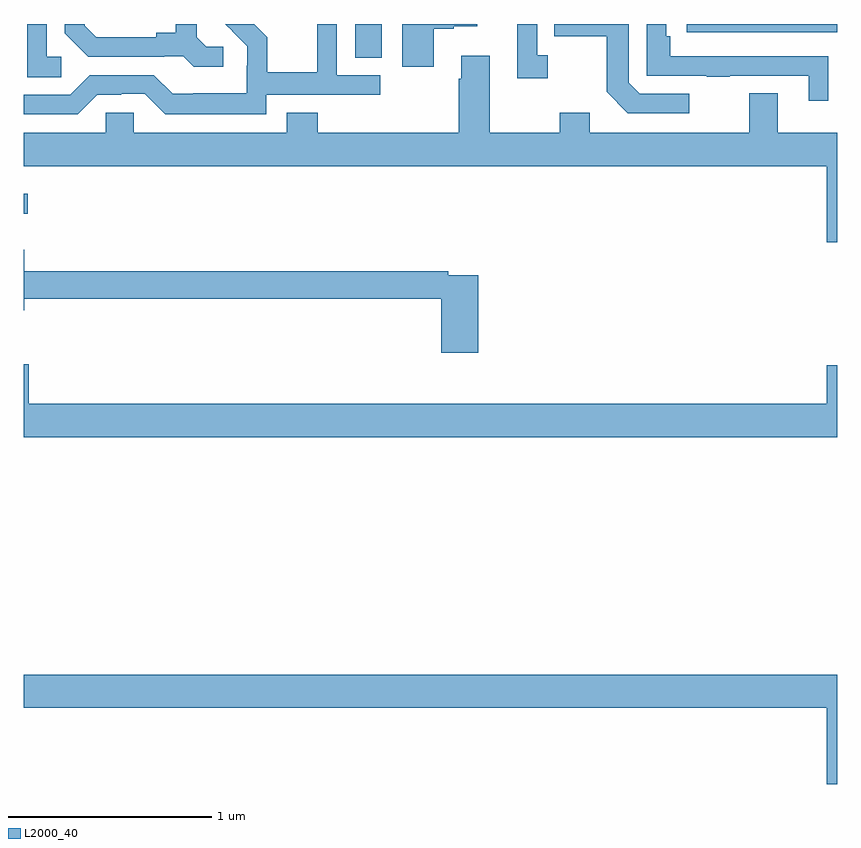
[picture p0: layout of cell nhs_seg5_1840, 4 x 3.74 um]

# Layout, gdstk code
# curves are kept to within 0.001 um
import gdstk
lib = gdstk.Library(unit=1e-6, precision=1e-09)
def R(c, l, rs):  # rectangles x0, y0, x1, y1
    for r in rs: c.add(gdstk.rectangle(r[:2], r[2:], *l))
def P(c, l, *ps):  # polygons
    for p in ps: c.add(gdstk.Polygon(p, *l))
L2000_40 = (2000, 40)

nhs_seg5_1840 = lib.new_cell('nhs_seg5_1840')
R(nhs_seg5_1840, L2000_40, [(221,849.867,221.02,849.964), (222.629,850.633,222.76,850.799), (224.259,850.758,225,850.799)])
P(nhs_seg5_1840, L2000_40, [(223.015,850.775),(223.115,850.775),(223.115,850.787),(223.231,850.787),(223.231,850.799),(222.86,850.799),(222.86,850.59),(223.015,850.59)],
  [(221.98,850.686),(221.898,850.686),(221.851,850.733),(221.851,850.799),(221.747,850.799),(221.747,850.757),(221.651,850.757),(221.651,850.734),(221.356,850.734),(221.299,850.791),(221.299,850.799),(221.202,850.799),(221.202,850.754),(221.318,850.638),(221.69,850.638),(221.69,850.641),(221.784,850.641),(221.836,850.589),(221.98,850.589)],
  [(221.185,850.638),(221.112,850.638),(221.112,850.799),(221.016,850.799),(221.016,850.537),(221.185,850.537)],
  [(224.957,850.64),(224.855,850.64),(224.855,850.641),(224.18,850.641),(224.18,850.738),(224.16,850.738),(224.16,850.799),(224.064,850.799),(224.064,850.545),(224.359,850.545),(224.359,850.54),(224.471,850.54),(224.471,850.545),(224.861,850.545),(224.861,850.422),(224.957,850.422)],
  [(223.576,850.646),(223.524,850.646),(223.524,850.799),(223.427,850.799),(223.427,850.533),(223.576,850.533)],
  [(222.192,850.452),(222.754,850.452),(222.754,850.548),(222.54,850.548),(222.54,850.799),(222.444,850.799),(222.444,850.784),(222.442,850.784),(222.442,850.561),(222.197,850.561),(222.197,850.735),(222.133,850.799),(221.991,850.799),(222.098,850.69),(222.098,850.593),(222.096,850.593),(222.096,850.459),(221.833,850.459),(221.833,850.455),(221.733,850.455),(221.64,850.548),(221.325,850.548),(221.229,850.452),(221,850.452),(221,850.356),(221.265,850.356),(221.361,850.452),(221.48,850.452),(221.48,850.455),(221.595,850.455),(221.695,850.355),(222.192,850.355)],
  [(224.272,850.455),(224.028,850.455),(223.974,850.509),(223.974,850.799),(223.609,850.799),(223.609,850.738),(223.866,850.738),(223.866,850.465),(223.971,850.359),(224.272,850.359)],
  [(225,850.264),(224.707,850.264),(224.707,850.459),(224.567,850.459),(224.567,850.264),(223.783,850.264),(223.783,850.363),(223.636,850.363),(223.636,850.264),(223.291,850.264),(223.291,850.642),(223.151,850.642),(223.151,850.529),(223.139,850.529),(223.139,850.264),(222.446,850.264),(222.446,850.363),(222.293,850.363),(222.293,850.264),(221.541,850.264),(221.541,850.362),(221.403,850.362),(221.403,850.264),(221,850.264),(221,850.1),(224.948,850.1),(224.948,849.726),(225,849.726)],
  [(223.235,849.564),(223.088,849.564),(223.088,849.584),(221.002,849.584),(221.002,849.688),(221,849.688),(221,849.392),(221.002,849.392),(221.002,849.448),(223.052,849.448),(223.052,849.183),(223.235,849.183)],
  [(225,849.121),(224.948,849.121),(224.948,848.932),(221.024,848.932),(221.024,849.127),(221,849.127),(221,848.768),(225,848.768)],
  [(225,847.6),(221,847.6),(221,847.436),(224.948,847.436),(224.948,847.062),(225,847.062)])

lib.write_gds('nhs_seg5_1840.gds')
